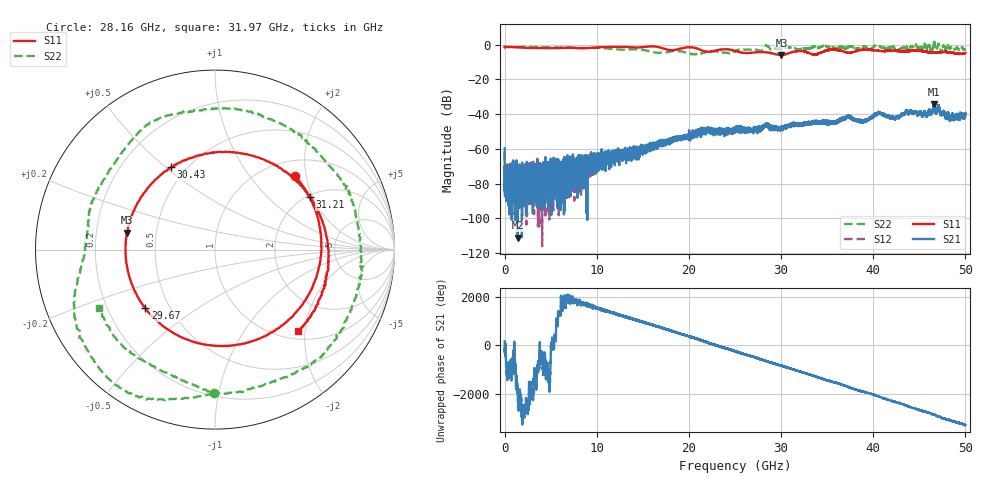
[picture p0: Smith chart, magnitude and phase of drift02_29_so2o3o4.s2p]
!Created with skrf (http://scikit-rf.org).
# Hz S RI R 50.0
!freq ReS11 ImS11 ReS21 ImS21 ReS12 ImS12 ReS22 ImS22
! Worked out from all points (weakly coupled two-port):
!   10001 points, 300 kHz to 50 GHz, reference 50 ohm
!   highest |S21| = -34.41 dB at 46.59 GHz (marker M1); lowest = -111.2 dB at 1.43 GHz (marker M2)
!   lowest |S11| = -6.1 dB at 30.05 GHz (marker M3), VSWR 2.98, Z = 16.9 + j4.23 ohm
!   |S11| at or under -10 dB: nowhere
!   |S22| runs from -5.7 to 2.3 dB; largest |S21 - S12| = 0.0036
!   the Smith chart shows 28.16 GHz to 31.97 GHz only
!   S11 on the Smith chart (normalised r, x): 28.16 GHz: 1.34, +1.73; 29.67 GHz: 0.36, -0.32; 30.43 GHz: 0.41, +0.52; 31.21 GHz: 2.08, +1.91; 31.97 GHz: 1.17, -1.83
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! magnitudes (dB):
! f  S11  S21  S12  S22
! 300 kHz  -1.3  -59.7  -62.0  -2.0
! 255.3 MHz  -1.4  -80.7  -78.6  -1.4
! 1.43 GHz  -1.7  -111.2  -80.4  -1.4
! 4.785 GHz  -2.1  -93.5  -82.9  -1.6
! 8.335 GHz  -2.2  -70.2  -68.2  -1.9
! 16.67 GHz  -1.5  -57.1  -56.7  -4.7
! 21.8 GHz  -4.0  -51.8  -49.5  -4.4
! 25 GHz  -3.7  -49.3  -49.4  -3.9
! 28.16 GHz  -4.4  -46.8  -46.9  -1.9
! 29.67 GHz  -5.9  -49.0  -47.8  -2.1
! 30.05 GHz  -6.1  -48.0  -48.6  -2.0
! 30.43 GHz  -5.7  -47.3  -47.0  -1.8
! 31.21 GHz  -4.4  -45.5  -46.2  -1.8
! 31.97 GHz  -3.8  -46.3  -46.2  -2.8
! 33.34 GHz  -5.5  -44.8  -44.7  -1.6
! 37.27 GHz  -4.7  -41.4  -41.3  -1.4
! 38.82 GHz  -3.1  -43.8  -44.5  -1.2
! 40.59 GHz  -3.6  -39.5  -39.4  -1.0
! 41.67 GHz  -3.6  -41.7  -41.2  -1.9
! 46.59 GHz  -4.7  -34.4  -34.8  2.0
! 48.52 GHz  -4.7  -41.4  -41.0  -1.7
! 50 GHz  -4.9  -39.4  -41.7  -2.7
